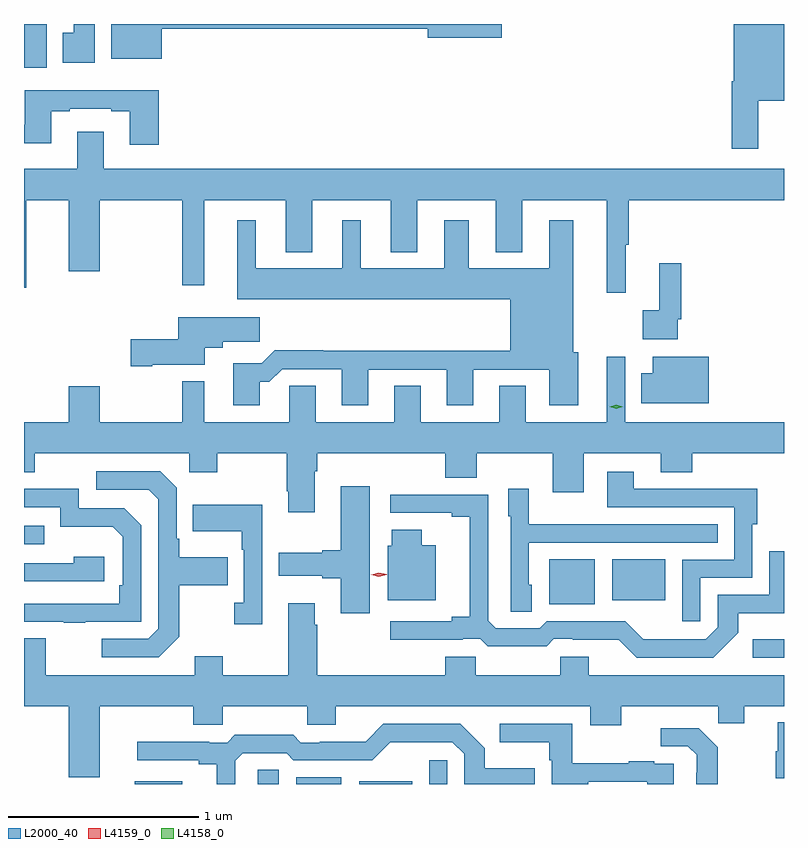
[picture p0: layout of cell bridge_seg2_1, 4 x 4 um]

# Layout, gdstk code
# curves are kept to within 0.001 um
import gdstk
lib = gdstk.Library(unit=1e-6, precision=1e-09)
def R(c, l, rs):  # rectangles x0, y0, x1, y1
    for r in rs: c.add(gdstk.rectangle(r[:2], r[2:], *l))
def P(c, l, *ps):  # polygons
    for p in ps: c.add(gdstk.Polygon(p, *l))
L2000_40 = (2000, 40)
L4158_0 = (4158, 0)
L4159_0 = (4159, 0)

bridge_seg2_1 = lib.new_cell('bridge_seg2_1')
R(bridge_seg2_1, L2000_40, [(656.864,612.595,657.115,612.61), (657.51,612.595,657.622,612.671), (657.713,612.595,657.952,612.631), (658.046,612.595,658.324,612.61), (658.413,612.595,658.509,612.721), (660.117,613.26,660.281,613.357), (659.045,613.541,659.284,613.777), (659.378,613.562,659.656,613.777), (656.281,613.857,656.387,613.953), (656.281,616.364,656.401,616.595)])
P(bridge_seg2_1, L2000_40, [(657.005,616.57),(658.406,616.57),(658.406,616.523),(658.795,616.523),(658.795,616.595),(656.741,616.595),(656.741,616.412),(657.005,616.412)],
  [(656.653,616.595),(656.543,616.595),(656.543,616.548),(656.486,616.548),(656.486,616.392),(656.653,616.392)],
  [(660.145,616.19),(660.281,616.19),(660.281,616.595),(660.017,616.595),(660.017,616.294),(660.005,616.294),(660.005,615.939),(660.145,615.939)],
  [(656.99,616.246),(656.285,616.246),(656.285,616.065),(656.281,616.065),(656.281,615.968),(656.425,615.968),(656.425,616.137),(656.521,616.137),(656.521,616.149),(656.741,616.149),(656.741,616.137),(656.837,616.137),(656.837,615.96),(656.99,615.96)],
  [(659.447,615.432),(659.465,615.432),(659.465,615.668),(660.281,615.668),(660.281,615.832),(656.701,615.832),(656.701,616.027),(656.561,616.027),(656.561,615.832),(656.281,615.832),(656.281,615.207),(656.293,615.207),(656.293,615.668),(656.516,615.668),(656.516,615.294),(656.68,615.294),(656.68,615.668),(657.115,615.668),(657.115,615.219),(657.229,615.219),(657.229,615.668),(657.659,615.668),(657.659,615.395),(657.799,615.395),(657.799,615.668),(658.211,615.668),(658.211,615.395),(658.351,615.395),(658.351,615.668),(658.763,615.668),(658.763,615.395),(658.903,615.395),(658.903,615.668),(659.348,615.668),(659.348,615.18),(659.447,615.18)],
  [(657.523,614.711),(657.572,614.711),(657.639,614.778),(657.953,614.778),(657.953,614.589),(658.093,614.589),(658.093,614.775),(658.505,614.775),(658.505,614.589),(658.645,614.589),(658.645,614.775),(659.045,614.775),(659.045,614.589),(659.197,614.589),(659.197,614.868),(659.173,614.868),(659.173,615.562),(659.045,615.562),(659.045,615.31),(658.621,615.31),(658.621,615.562),(658.493,615.562),(658.493,615.31),(658.054,615.31),(658.054,615.562),(657.956,615.562),(657.956,615.31),(657.502,615.31),(657.502,615.562),(657.404,615.562),(657.404,615.146),(658.841,615.146),(658.841,614.876),(657.857,614.876),(657.857,614.879),(657.602,614.879),(657.532,614.809),(657.383,614.809),(657.383,614.589),(657.523,614.589)],
  [(659.721,615.04),(659.741,615.04),(659.741,615.337),(659.624,615.337),(659.624,615.089),(659.538,615.089),(659.538,614.936),(659.721,614.936)],
  [(656.956,614.801),(657.232,614.801),(657.232,614.891),(657.328,614.891),(657.328,614.923),(657.523,614.923),(657.523,615.052),(657.092,615.052),(657.092,614.936),(656.844,614.936),(656.844,614.794),(656.956,614.794)],
  [(659.884,614.845),(659.591,614.845),(659.591,614.758),(659.53,614.758),(659.53,614.6),(659.884,614.6)],
  [(657.811,614.24),(657.824,614.24),(657.824,614.336),(658.499,614.336),(658.499,614.208),(658.663,614.208),(658.663,614.336),(659.063,614.336),(659.063,614.13),(659.227,614.13),(659.227,614.336),(659.633,614.336),(659.633,614.237),(659.797,614.237),(659.797,614.336),(660.281,614.336),(660.281,614.5),(659.445,614.5),(659.445,614.845),(659.348,614.845),(659.348,614.5),(658.921,614.5),(658.921,614.69),(658.781,614.69),(658.781,614.5),(658.369,614.5),(658.369,614.69),(658.229,614.69),(658.229,614.5),(657.817,614.5),(657.817,614.69),(657.678,614.69),(657.678,614.5),(657.229,614.5),(657.229,614.716),(657.115,614.716),(657.115,614.5),(656.68,614.5),(656.68,614.689),(656.516,614.689),(656.516,614.5),(656.281,614.5),(656.281,614.237),(656.337,614.237),(656.337,614.336),(657.15,614.336),(657.15,614.237),(657.297,614.237),(657.297,614.336),(657.664,614.336),(657.664,614.137),(657.671,614.137),(657.671,614.025),(657.811,614.025)],
  [(657.097,613.369),(657.097,613.642),(657.353,613.642),(657.353,613.789),(657.097,613.789),(657.097,613.885),(657.084,613.885),(657.084,614.154),(656.997,614.241),(656.661,614.241),(656.661,614.145),(656.937,614.145),(656.988,614.094),(656.988,613.413),(656.934,613.359),(656.691,613.359),(656.691,613.263),(656.991,613.263)],
  [(659.841,613.68),(660.114,613.68),(660.114,613.962),(660.139,613.962),(660.139,614.15),(659.921,614.15),(659.921,614.148),(659.491,614.148),(659.491,614.239),(659.351,614.239),(659.351,614.052),(660.018,614.052),(660.018,613.776),(659.745,613.776),(659.745,613.452),(659.841,613.452)],
  [(658.102,614.161),(657.947,614.161),(657.947,613.826),(657.851,613.826),(657.851,613.813),(657.621,613.813),(657.621,613.691),(657.851,613.691),(657.851,613.679),(657.947,613.679),(657.947,613.494),(658.102,613.494)],
  [(658.954,613.644),(658.938,613.644),(658.938,613.866),(659.933,613.866),(659.933,613.962),(659.255,613.962),(659.255,613.963),(658.938,613.963),(658.938,614.149),(658.829,614.149),(658.829,614.004),(658.842,614.004),(658.842,613.501),(658.954,613.501)],
  [(656.603,613.449),(656.898,613.449),(656.898,613.956),(656.808,614.046),(656.568,614.046),(656.568,614.148),(656.281,614.148),(656.281,614.052),(656.472,614.052),(656.472,613.949),(656.749,613.949),(656.802,613.896),(656.802,613.642),(656.782,613.642),(656.782,613.545),(656.281,613.545),(656.281,613.449),(656.491,613.449),(656.491,613.444),(656.603,613.444)],
  [(660.039,613.391),(660.039,613.493),(660.281,613.493),(660.281,613.819),(660.204,613.819),(660.204,613.59),(659.931,613.59),(659.931,613.419),(659.868,613.356),(659.644,613.356),(659.644,613.358),(659.54,613.358),(659.445,613.452),(659.031,613.452),(658.995,613.416),(658.764,613.416),(658.725,613.455),(658.725,614.118),(658.209,614.118),(658.209,614.022),(658.532,614.022),(658.532,614.002),(658.628,614.002),(658.628,613.475),(658.532,613.475),(658.532,613.452),(658.209,613.452),(658.209,613.355),(658.589,613.355),(658.589,613.359),(658.683,613.359),(658.723,613.32),(659.031,613.32),(659.07,613.359),(659.17,613.359),(659.17,613.355),(659.411,613.355),(659.505,613.26),(659.908,613.26)],
  [(657.534,614.065),(657.169,614.065),(657.169,613.925),(657.426,613.925),(657.426,613.829),(657.438,613.829),(657.438,613.55),(657.387,613.55),(657.387,613.437),(657.534,613.437)],
  [(658.447,613.852),(658.375,613.852),(658.375,613.933),(658.217,613.933),(658.217,613.848),(658.196,613.848),(658.196,613.562),(658.447,613.562)],
  [(656.704,613.792),(656.543,613.792),(656.543,613.758),(656.281,613.758),(656.281,613.662),(656.704,613.662)],
  [(656.68,613.004),(657.172,613.004),(657.172,612.906),(657.327,612.906),(657.327,613.004),(657.772,613.004),(657.772,612.906),(657.922,612.906),(657.922,613.004),(659.261,613.004),(659.261,612.905),(659.425,612.905),(659.425,613.004),(659.935,613.004),(659.935,612.914),(660.073,612.914),(660.073,613.004),(660.281,613.004),(660.281,613.168),(659.254,613.168),(659.254,613.266),(659.104,613.266),(659.104,613.168),(658.659,613.168),(658.659,613.266),(658.499,613.266),(658.499,613.168),(657.824,613.168),(657.824,613.433),(657.811,613.433),(657.811,613.546),(657.671,613.546),(657.671,613.168),(657.327,613.168),(657.327,613.267),(657.179,613.267),(657.179,613.168),(656.395,613.168),(656.395,613.363),(656.281,613.363),(656.281,613.004),(656.516,613.004),(656.516,612.63),(656.68,612.63)],
  [(660.281,612.919),(660.248,612.919),(660.248,612.768),(660.237,612.768),(660.237,612.624),(660.281,612.624)],
  [(657.393,612.717),(657.432,612.756),(657.663,612.756),(657.699,612.72),(658.113,612.72),(658.208,612.815),(658.536,612.816),(658.599,612.753),(658.599,612.595),(658.968,612.595),(658.968,612.679),(658.707,612.679),(658.707,612.782),(658.576,612.912),(658.173,612.912),(658.079,612.818),(657.838,612.818),(657.838,612.813),(657.738,612.813),(657.699,612.853),(657.391,612.853),(657.351,612.813),(657.257,612.813),(657.257,612.818),(656.877,612.818),(656.877,612.72),(657.2,612.72),(657.2,612.698),(657.296,612.698),(657.296,612.595),(657.393,612.595)],
  [(659.251,612.606),(659.561,612.606),(659.561,612.595),(659.701,612.595),(659.701,612.702),(659.597,612.702),(659.597,612.715),(659.465,612.715),(659.465,612.704),(659.167,612.704),(659.167,612.912),(658.785,612.912),(658.785,612.815),(659.046,612.815),(659.046,612.719),(659.058,612.719),(659.058,612.595),(659.251,612.595)],
  [(659.931,612.789),(659.831,612.889),(659.631,612.889),(659.631,612.795),(659.775,612.795),(659.822,612.748),(659.822,612.653),(659.82,612.653),(659.82,612.595),(659.931,612.595)])
P(bridge_seg2_1, L4158_0, [(659.398,614.57),(659.363,614.58),(659.362,614.58),(659.363,614.58),(659.398,614.59),(659.432,614.58),(659.432,614.58),(659.432,614.58)])
P(bridge_seg2_1, L4159_0, [(658.149,613.687),(658.108,613.696),(658.108,613.696),(658.108,613.696),(658.148,613.707),(658.189,613.698),(658.19,613.697),(658.189,613.697)])

lib.write_gds('bridge_seg2_1.gds')
